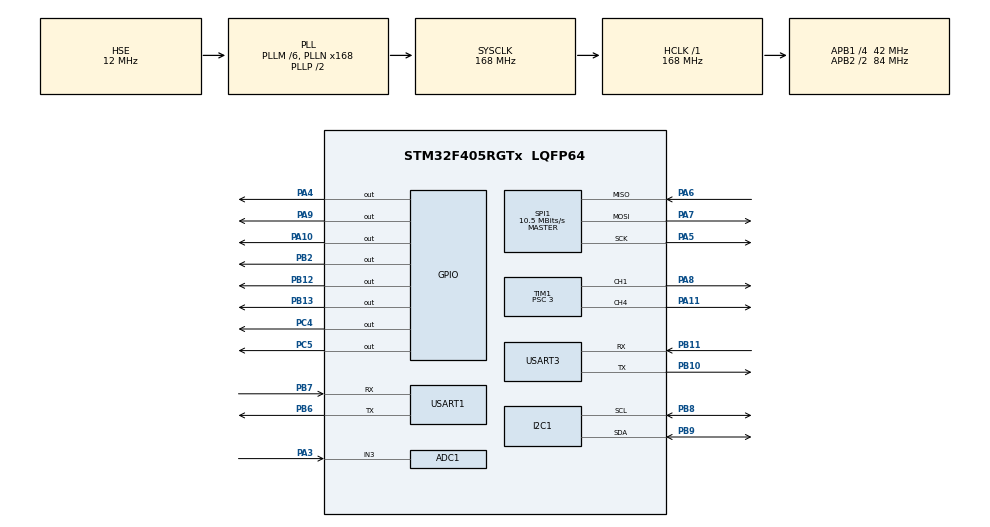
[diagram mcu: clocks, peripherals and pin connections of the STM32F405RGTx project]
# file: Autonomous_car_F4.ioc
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ADC1.Channel-3\#ChannelRegularConversion=ADC_CHANNEL_3
ADC1.NbrOfConversionFlag=1
ADC1.Rank-3\#ChannelRegularConversion=1
ADC1.SamplingTime-3\#ChannelRegularConversion=ADC_SAMPLETIME_3CYCLES
ADC1.master=1
Dma.Request0=USART3_TX
Dma.USART3_TX.0.Direction=DMA_MEMORY_TO_PERIPH
Dma.USART3_TX.0.FIFOMode=DMA_FIFOMODE_DISABLE
Dma.USART3_TX.0.Instance=DMA1_Stream3
Dma.USART3_TX.0.MemDataAlignment=DMA_MDATAALIGN_BYTE
Dma.USART3_TX.0.MemInc=DMA_MINC_ENABLE
Dma.USART3_TX.0.Mode=DMA_NORMAL
Dma.USART3_TX.0.PeriphDataAlignment=DMA_PDATAALIGN_BYTE
Dma.USART3_TX.0.PeriphInc=DMA_PINC_DISABLE
Dma.USART3_TX.0.Priority=DMA_PRIORITY_LOW
I2C1.I2C_Mode=I2C_Fast
Mcu.Family=STM32F4
Mcu.Name=STM32F405RGTx
Mcu.Package=LQFP64
NVIC.DMA1_Stream3_IRQn=true\:5\:0\:false\:false\:true\:false\:true
NVIC.PriorityGroup=NVIC_PRIORITYGROUP_4
NVIC.TIM2_IRQn=true\:1\:0\:true\:false\:true\:true\:true
NVIC.TIM8_TRG_COM_TIM14_IRQn=true\:0\:0\:false\:false\:true\:false\:true
NVIC.TimeBase=TIM8_TRG_COM_TIM14_IRQn
NVIC.TimeBaseIP=TIM14
NVIC.USART1_IRQn=true\:1\:0\:true\:false\:true\:true\:true
PA10.Signal=GPIO_Output
PA11.Signal=S_TIM1_CH4
PA13.Mode=Serial_Wire
PA13.Signal=SYS_JTMS-SWDIO
PA14.Mode=Serial_Wire
PA14.Signal=SYS_JTCK-SWCLK
PA3.Signal=ADCx_IN3
PA4.Signal=GPIO_Output
PA5.Mode=Full_Duplex_Master
PA5.Signal=SPI1_SCK
PA6.Mode=Full_Duplex_Master
PA6.Signal=SPI1_MISO
PA7.Mode=Full_Duplex_Master
PA7.Signal=SPI1_MOSI
PA8.Signal=S_TIM1_CH1
PA9.Signal=GPIO_Output
PB10.Mode=Asynchronous
PB10.Signal=USART3_TX
PB11.Mode=Asynchronous
PB11.Signal=USART3_RX
PB12.Signal=GPIO_Output
PB13.Signal=GPIO_Output
PB2.Signal=GPIO_Output
PB6.Mode=Asynchronous
PB6.Signal=USART1_TX
PB7.Mode=Asynchronous
PB7.Signal=USART1_RX
PB8.Mode=I2C
PB8.Signal=I2C1_SCL
PB9.Mode=I2C
PB9.Signal=I2C1_SDA
PC4.Signal=GPIO_Output
PC5.Signal=GPIO_Output
PH0-OSC_IN.Mode=HSE-External-Oscillator
PH0-OSC_IN.Signal=RCC_OSC_IN
PH1-OSC_OUT.Mode=HSE-External-Oscillator
PH1-OSC_OUT.Signal=RCC_OSC_OUT
ProjectManager.HeapSize=0x200
ProjectManager.StackSize=0x400
ProjectManager.TargetToolchain=STM32CubeIDE
RCC.48MHZClocksFreq_Value=84000000
RCC.AHBFreq_Value=168000000
RCC.APB1CLKDivider=RCC_HCLK_DIV4
RCC.APB1Freq_Value=42000000
RCC.APB1TimFreq_Value=84000000
RCC.APB2CLKDivider=RCC_HCLK_DIV2
RCC.APB2Freq_Value=84000000
RCC.APB2TimFreq_Value=168000000
RCC.CortexFreq_Value=168000000
RCC.HCLKFreq_Value=168000000
RCC.HSE_VALUE=12000000
RCC.HSI_VALUE=16000000
RCC.LSE_VALUE=32768
RCC.PLLM=6
RCC.PLLN=168
RCC.PLLSourceVirtual=RCC_PLLSOURCE_HSE
RCC.SYSCLKFreq_VALUE=168000000
RCC.SYSCLKSource=RCC_SYSCLKSOURCE_PLLCLK
RCC.VCOOutputFreq_Value=336000000
SH.ADCx_IN3.0=ADC1_IN3,IN3
SH.S_TIM1_CH1.0=TIM1_CH1,PWM Generation1 CH1
SH.S_TIM1_CH4.0=TIM1_CH4,PWM Generation4 CH4
SPI1.BaudRatePrescaler=SPI_BAUDRATEPRESCALER_8
SPI1.CalculateBaudRate=10.5 MBits/s
SPI1.Direction=SPI_DIRECTION_2LINES
SPI1.Mode=SPI_MODE_MASTER
SPI1.VirtualType=VM_MASTER
TIM1.Channel-PWM\ Generation1\ CH1=TIM_CHANNEL_1
TIM1.Channel-PWM\ Generation4\ CH4=TIM_CHANNEL_4
TIM1.Period=1000
TIM1.Prescaler=3
TIM2.Period=10000
TIM2.Prescaler=83
USART1.VirtualMode=VM_ASYNC
USART3.VirtualMode=VM_ASYNC
VP_CRC_VS_CRC.Mode=CRC_Activate
VP_SYS_VS_tim14.Mode=TIM14
VP_TIM1_VS_ClockSourceINT.Mode=Internal
VP_TIM2_VS_ClockSourceINT.Mode=Internal
board=custom

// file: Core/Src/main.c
/* USER CODE BEGIN Header */
/**
  ******************************************************************************
  * @file           : main.c
  * @brief          : Main program body
  ******************************************************************************
  * @attention
  *
  * <h2><center>&copy; Copyright (c) 2020 STMicroelectronics.
  * All rights reserved.</center></h2>
  *
  * This software component is licensed by ST under Ultimate Liberty license
  * SLA0044, the "License"; You may not use this file except in compliance with
  * the License. You may obtain a copy of the License at:
  *                             www.st.com/SLA0044
  *
  ******************************************************************************
  */
/* USER CODE END Header */
#include "main.h"

/* USER CODE BEGIN Includes */
#include "mpu9250.hpp"
#include "print_func.hpp"
#include "sbus.h"
#include "mpu_data_type.hpp"
#include "PID.h"
/* USER CODE END Includes */

ADC_HandleTypeDef hadc1;

CRC_HandleTypeDef hcrc;

I2C_HandleTypeDef hi2c1;

SPI_HandleTypeDef hspi1;

TIM_HandleTypeDef htim1;
TIM_HandleTypeDef htim2;

UART_HandleTypeDef huart1;
UART_HandleTypeDef huart3;
DMA_HandleTypeDef hdma_usart3_tx;

void SystemClock_Config(void);
static void MX_GPIO_Init(void);
static void MX_DMA_Init(void);
static void MX_USART3_UART_Init(void);
static void MX_I2C1_Init(void);
static void MX_TIM1_Init(void);
static void MX_USART1_UART_Init(void);
static void MX_CRC_Init(void);
static void MX_SPI1_Init(void);
static void MX_TIM2_Init(void);
static void MX_ADC1_Init(void);

/* USER CODE BEGIN 0 */

MAG_data mag_raw, mag_data;

uint8_t calib_mode = 0;

uint8_t Rx_data[2];
uint8_t Rx_buffer[24];
uint8_t sbus_buffer[7];

IMU_data imu_data;
PID_raw pid_temp;
PID_value pid_data;
ESC_value esc_value;

float yaw, yaw_com, yaw_offset, yaw_gyro = 0;
float set_point = 0;
int velocity = 0;

/* USER CODE END 0 */

int main(void)
{

  /* MCU Configuration--------------------------------------------------------*/

  /* Reset of all peripherals, Initializes the Flash interface and the Systick. */
  HAL_Init();

  /* Configure the system clock */
  SystemClock_Config();

  /* Initialize all configured peripherals */
  MX_GPIO_Init();
  MX_DMA_Init();
  MX_USART3_UART_Init();
  MX_I2C1_Init();
  MX_TIM1_Init();
  MX_USART1_UART_Init();
  MX_CRC_Init();
  MX_SPI1_Init();
  MX_TIM2_Init();
  MX_ADC1_Init();
  /* USER CODE BEGIN 2 */
  init_MPU();
  calibration_IMU();

  yaw_com = 0;
//  HAL_UART_Receive_IT(&huart1, (uint8_t *) Rx_data, 1);

  HAL_TIM_PWM_Start(&htim1, TIM_CHANNEL_1);
  HAL_TIM_PWM_Start(&htim1, TIM_CHANNEL_4);
  HAL_TIM_Base_Start_IT(&htim2);

  /* USER CODE END 2 */

  /* Infinite loop */
  while (1)
  {

    /* USER CODE BEGIN 3 */
//	  for(int i = -500; i<0;i++){
//	    Motor1(i);
//		Motor2(i);
//		HAL_Delay(10);
//	  }
//	  for(int i = 0; i> -500;i--){
//	    Motor1(i);
//		Motor2(i);
//		HAL_Delay(10);
//	  }
//	      mag_raw.Mag_x = set_point;
	      mag_raw.Mag_z = yaw_gyro;
//	  	  mag_raw.Mag_z = imu_data.Gyro_z;
	  	  print_magnet(mag_raw);
	  	  HAL_Delay(100);
  }
  /* USER CODE END 3 */
}

void SystemClock_Config(void)
{
  RCC_OscInitTypeDef RCC_OscInitStruct = {0};
  RCC_ClkInitTypeDef RCC_ClkInitStruct = {0};

  /** Configure the main internal regulator output voltage
  */
  __HAL_RCC_PWR_CLK_ENABLE();
  __HAL_PWR_VOLTAGESCALING_CONFIG(PWR_REGULATOR_VOLTAGE_SCALE1);
  /** Initializes the RCC Oscillators according to the specified parameters
  * in the RCC_OscInitTypeDef structure.
  */
  RCC_OscInitStruct.OscillatorType = RCC_OSCILLATORTYPE_HSE;
  RCC_OscInitStruct.HSEState = RCC_HSE_ON;
  RCC_OscInitStruct.PLL.PLLState = RCC_PLL_ON;
  RCC_OscInitStruct.PLL.PLLSource = RCC_PLLSOURCE_HSE;
  RCC_OscInitStruct.PLL.PLLM = 6;
  RCC_OscInitStruct.PLL.PLLN = 168;
  RCC_OscInitStruct.PLL.PLLP = RCC_PLLP_DIV2;
  RCC_OscInitStruct.PLL.PLLQ = 4;
  if (HAL_RCC_OscConfig(&RCC_OscInitStruct) != HAL_OK)
  {
    Error_Handler();
  }
  /** Initializes the CPU, AHB and APB buses clocks
  */
  RCC_ClkInitStruct.ClockType = RCC_CLOCKTYPE_HCLK|RCC_CLOCKTYPE_SYSCLK
                              |RCC_CLOCKTYPE_PCLK1|RCC_CLOCKTYPE_PCLK2;
  RCC_ClkInitStruct.SYSCLKSource = RCC_SYSCLKSOURCE_PLLCLK;
  RCC_ClkInitStruct.AHBCLKDivider = RCC_SYSCLK_DIV1;
  RCC_ClkInitStruct.APB1CLKDivider = RCC_HCLK_DIV4;
  RCC_ClkInitStruct.APB2CLKDivider = RCC_HCLK_DIV2;

  if (HAL_RCC_ClockConfig(&RCC_ClkInitStruct, FLASH_LATENCY_5) != HAL_OK)
  {
    Error_Handler();
  }
}

static void MX_ADC1_Init(void)
{

  ADC_ChannelConfTypeDef sConfig = {0};

  /** Configure the global features of the ADC (Clock, Resolution, Data Alignment and number of conversion)
  */
  hadc1.Instance = ADC1;
  hadc1.Init.ClockPrescaler = ADC_CLOCK_SYNC_PCLK_DIV4;
  hadc1.Init.Resolution = ADC_RESOLUTION_12B;
  hadc1.Init.ScanConvMode = DISABLE;
  hadc1.Init.ContinuousConvMode = DISABLE;
  hadc1.Init.DiscontinuousConvMode = DISABLE;
  hadc1.Init.ExternalTrigConvEdge = ADC_EXTERNALTRIGCONVEDGE_NONE;
  hadc1.Init.ExternalTrigConv = ADC_SOFTWARE_START;
  hadc1.Init.DataAlign = ADC_DATAALIGN_RIGHT;
  hadc1.Init.NbrOfConversion = 1;
  hadc1.Init.DMAContinuousRequests = DISABLE;
  hadc1.Init.EOCSelection = ADC_EOC_SINGLE_CONV;
  if (HAL_ADC_Init(&hadc1) != HAL_OK)
  {
    Error_Handler();
  }
  /** Configure for the selected ADC regular channel its corresponding rank in the sequencer and its sample time.
  */
  sConfig.Channel = ADC_CHANNEL_3;
  sConfig.Rank = 1;
  sConfig.SamplingTime = ADC_SAMPLETIME_3CYCLES;
  if (HAL_ADC_ConfigChannel(&hadc1, &sConfig) != HAL_OK)
  {
    Error_Handler();
  }

}

static void MX_CRC_Init(void)
{

  hcrc.Instance = CRC;
  if (HAL_CRC_Init(&hcrc) != HAL_OK)
  {
    Error_Handler();
  }

}

static void MX_I2C1_Init(void)
{

  hi2c1.Instance = I2C1;
  hi2c1.Init.ClockSpeed = 400000;
  hi2c1.Init.DutyCycle = I2C_DUTYCYCLE_2;
  hi2c1.Init.OwnAddress1 = 0;
  hi2c1.Init.AddressingMode = I2C_ADDRESSINGMODE_7BIT;
  hi2c1.Init.DualAddressMode = I2C_DUALADDRESS_DISABLE;
  hi2c1.Init.OwnAddress2 = 0;
  hi2c1.Init.GeneralCallMode = I2C_GENERALCALL_DISABLE;
  hi2c1.Init.NoStretchMode = I2C_NOSTRETCH_DISABLE;
  if (HAL_I2C_Init(&hi2c1) != HAL_OK)
  {
    Error_Handler();
  }

}

static void MX_SPI1_Init(void)
{

  /* SPI1 parameter configuration*/
  hspi1.Instance = SPI1;
  hspi1.Init.Mode = SPI_MODE_MASTER;
  hspi1.Init.Direction = SPI_DIRECTION_2LINES;
  hspi1.Init.DataSize = SPI_DATASIZE_8BIT;
  hspi1.Init.CLKPolarity = SPI_POLARITY_LOW;
  hspi1.Init.CLKPhase = SPI_PHASE_1EDGE;
  hspi1.Init.NSS = SPI_NSS_SOFT;
  hspi1.Init.BaudRatePrescaler = SPI_BAUDRATEPRESCALER_8;
  hspi1.Init.FirstBit = SPI_FIRSTBIT_MSB;
  hspi1.Init.TIMode = SPI_TIMODE_DISABLE;
  hspi1.Init.CRCCalculation = SPI_CRCCALCULATION_DISABLE;
  hspi1.Init.CRCPolynomial = 10;
  if (HAL_SPI_Init(&hspi1) != HAL_OK)
  {
    Error_Handler();
  }

}

static void MX_TIM1_Init(void)
{

  TIM_ClockConfigTypeDef sClockSourceConfig = {0};
  TIM_MasterConfigTypeDef sMasterConfig = {0};
  TIM_OC_InitTypeDef sConfigOC = {0};
  TIM_BreakDeadTimeConfigTypeDef sBreakDeadTimeConfig = {0};

  htim1.Instance = TIM1;
  htim1.Init.Prescaler = 3;
  htim1.Init.CounterMode = TIM_COUNTERMODE_UP;
  htim1.Init.Period = 1000;
  htim1.Init.ClockDivision = TIM_CLOCKDIVISION_DIV1;
  htim1.Init.RepetitionCounter = 0;
  htim1.Init.AutoReloadPreload = TIM_AUTORELOAD_PRELOAD_DISABLE;
  if (HAL_TIM_Base_Init(&htim1) != HAL_OK)
  {
    Error_Handler();
  }
  sClockSourceConfig.ClockSource = TIM_CLOCKSOURCE_INTERNAL;
  if (HAL_TIM_ConfigClockSource(&htim1, &sClockSourceConfig) != HAL_OK)
  {
    Error_Handler();
  }
  if (HAL_TIM_PWM_Init(&htim1) != HAL_OK)
  {
    Error_Handler();
  }
  sMasterConfig.MasterOutputTrigger = TIM_TRGO_RESET;
  sMasterConfig.MasterSlaveMode = TIM_MASTERSLAVEMODE_DISABLE;
  if (HAL_TIMEx_MasterConfigSynchronization(&htim1, &sMasterConfig) != HAL_OK)
  {
    Error_Handler();
  }
  sConfigOC.OCMode = TIM_OCMODE_PWM1;
  sConfigOC.Pulse = 0;
  sConfigOC.OCPolarity = TIM_OCPOLARITY_HIGH;
  sConfigOC.OCNPolarity = TIM_OCNPOLARITY_HIGH;
  sConfigOC.OCFastMode = TIM_OCFAST_DISABLE;
  sConfigOC.OCIdleState = TIM_OCIDLESTATE_RESET;
  sConfigOC.OCNIdleState = TIM_OCNIDLESTATE_RESET;
  if (HAL_TIM_PWM_ConfigChannel(&htim1, &sConfigOC, TIM_CHANNEL_1) != HAL_OK)
  {
    Error_Handler();
  }
  if (HAL_TIM_PWM_ConfigChannel(&htim1, &sConfigOC, TIM_CHANNEL_4) != HAL_OK)
  {
    Error_Handler();
  }
  sBreakDeadTimeConfig.OffStateRunMode = TIM_OSSR_DISABLE;
  sBreakDeadTimeConfig.OffStateIDLEMode = TIM_OSSI_DISABLE;
  sBreakDeadTimeConfig.LockLevel = TIM_LOCKLEVEL_OFF;
  sBreakDeadTimeConfig.DeadTime = 0;
  sBreakDeadTimeConfig.BreakState = TIM_BREAK_DISABLE;
  sBreakDeadTimeConfig.BreakPolarity = TIM_BREAKPOLARITY_HIGH;
  sBreakDeadTimeConfig.AutomaticOutput = TIM_AUTOMATICOUTPUT_DISABLE;
  if (HAL_TIMEx_ConfigBreakDeadTime(&htim1, &sBreakDeadTimeConfig) != HAL_OK)
  {
    Error_Handler();
  }
  HAL_TIM_MspPostInit(&htim1);

}

static void MX_TIM2_Init(void)
{

  TIM_ClockConfigTypeDef sClockSourceConfig = {0};
  TIM_MasterConfigTypeDef sMasterConfig = {0};

  htim2.Instance = TIM2;
  htim2.Init.Prescaler = 83;
  htim2.Init.CounterMode = TIM_COUNTERMODE_UP;
  htim2.Init.Period = 10000;
  htim2.Init.ClockDivision = TIM_CLOCKDIVISION_DIV1;
  htim2.Init.AutoReloadPreload = TIM_AUTORELOAD_PRELOAD_DISABLE;
  if (HAL_TIM_Base_Init(&htim2) != HAL_OK)
  {
    Error_Handler();
  }
  sClockSourceConfig.ClockSource = TIM_CLOCKSOURCE_INTERNAL;
  if (HAL_TIM_ConfigClockSource(&htim2, &sClockSourceConfig) != HAL_OK)
  {
    Error_Handler();
  }
  sMasterConfig.MasterOutputTrigger = TIM_TRGO_RESET;
  sMasterConfig.MasterSlaveMode = TIM_MASTERSLAVEMODE_DISABLE;
  if (HAL_TIMEx_MasterConfigSynchronization(&htim2, &sMasterConfig) != HAL_OK)
  {
    Error_Handler();
  }

}

static void MX_USART1_UART_Init(void)
{

  huart1.Instance = USART1;
  huart1.Init.BaudRate = 115200;
  huart1.Init.WordLength = UART_WORDLENGTH_8B;
  huart1.Init.StopBits = UART_STOPBITS_1;
  huart1.Init.Parity = UART_PARITY_NONE;
  huart1.Init.Mode = UART_MODE_TX_RX;
  huart1.Init.HwFlowCtl = UART_HWCONTROL_NONE;
  huart1.Init.OverSampling = UART_OVERSAMPLING_16;
  if (HAL_UART_Init(&huart1) != HAL_OK)
  {
    Error_Handler();
  }

}

static void MX_USART3_UART_Init(void)
{

  huart3.Instance = USART3;
  huart3.Init.BaudRate = 115200;
  huart3.Init.WordLength = UART_WORDLENGTH_8B;
  huart3.Init.StopBits = UART_STOPBITS_1;
  huart3.Init.Parity = UART_PARITY_NONE;
  huart3.Init.Mode = UART_MODE_TX_RX;
  huart3.Init.HwFlowCtl = UART_HWCONTROL_NONE;
  huart3.Init.OverSampling = UART_OVERSAMPLING_16;
  if (HAL_UART_Init(&huart3) != HAL_OK)
  {
    Error_Handler();
  }

}

static void MX_DMA_Init(void)
{

  /* DMA controller clock enable */
  __HAL_RCC_DMA1_CLK_ENABLE();

  /* DMA interrupt init */
  /* DMA1_Stream3_IRQn interrupt configuration */
  HAL_NVIC_SetPriority(DMA1_Stream3_IRQn, 5, 0);
  HAL_NVIC_EnableIRQ(DMA1_Stream3_IRQn);

}

static void MX_GPIO_Init(void)
{
  GPIO_InitTypeDef GPIO_InitStruct = {0};

  /* GPIO Ports Clock Enable */
  __HAL_RCC_GPIOH_CLK_ENABLE();
  __HAL_RCC_GPIOA_CLK_ENABLE();
  __HAL_RCC_GPIOC_CLK_ENABLE();
  __HAL_RCC_GPIOB_CLK_ENABLE();

  /*Configure GPIO pin Output Level */
  HAL_GPIO_WritePin(GPIOA, GPIO_PIN_4|GPIO_PIN_9|GPIO_PIN_10, GPIO_PIN_RESET);

  /*Configure GPIO pin Output Level */
  HAL_GPIO_WritePin(GPIOC, GPIO_PIN_4|GPIO_PIN_5, GPIO_PIN_RESET);

  /*Configure GPIO pin Output Level */
  HAL_GPIO_WritePin(GPIOB, GPIO_PIN_2|GPIO_PIN_12|GPIO_PIN_13, GPIO_PIN_RESET);

  /*Configure GPIO pins : PA4 PA9 PA10 */
  GPIO_InitStruct.Pin = GPIO_PIN_4|GPIO_PIN_9|GPIO_PIN_10;
  GPIO_InitStruct.Mode = GPIO_MODE_OUTPUT_PP;
  GPIO_InitStruct.Pull = GPIO_NOPULL;
  GPIO_InitStruct.Speed = GPIO_SPEED_FREQ_LOW;
  HAL_GPIO_Init(GPIOA, &GPIO_InitStruct);

  /*Configure GPIO pins : PC4 PC5 */
  GPIO_InitStruct.Pin = GPIO_PIN_4|GPIO_PIN_5;
  GPIO_InitStruct.Mode = GPIO_MODE_OUTPUT_PP;
  GPIO_InitStruct.Pull = GPIO_NOPULL;
  GPIO_InitStruct.Speed = GPIO_SPEED_FREQ_LOW;
  HAL_GPIO_Init(GPIOC, &GPIO_InitStruct);

  /*Configure GPIO pins : PB2 PB12 PB13 */
  GPIO_InitStruct.Pin = GPIO_PIN_2|GPIO_PIN_12|GPIO_PIN_13;
  GPIO_InitStruct.Mode = GPIO_MODE_OUTPUT_PP;
  GPIO_InitStruct.Pull = GPIO_NOPULL;
  GPIO_InitStruct.Speed = GPIO_SPEED_FREQ_LOW;
  HAL_GPIO_Init(GPIOB, &GPIO_InitStruct);

}

/* USER CODE BEGIN 4 */
//int j = 0;
//void HAL_UART_RxCpltCallback(UART_HandleTypeDef *huart)
//{
//	HAL_GPIO_TogglePin(GPIOB, GPIO_PIN_2);
//
//	if (huart->Instance == USART1)  //current UART
//	{
//
//
//		if((Rx_data[0] == 'w')){
//			velocity = 300;
//		}
//		if((Rx_data[0] == 'a')){
//			set_point--;
//		}
//		if((Rx_data[0] == 'd')){
//			set_point++;
//		}
//		if((Rx_data[0] == 'x')){
//			velocity = 0;
//		}
//
////		char trans_b[4];
//		if(Rx_data[0] == 's'){
//			j = 0;
////			BOARD_MODE = FLY_MODE;
//
//             for(int count = 0; count< 24; count++)
//            	 Rx_buffer[count] = 0x00;
//		}
//		else{
//			if((Rx_data[0] != 'e')){
//			 Rx_buffer[j] = Rx_data[0];
//			 j++;
////			 HAL_UART_Receive_IT(&huart3, (uint8_t *) Rx_data, 1);
//
//			}
//			else{
//
//					for(uint8_t k = 0; k<8; k++){
//                        sbus_buffer[k] = Rx_buffer[k];
//					}
//				    esc_value = sbus_decode(sbus_buffer);
//					if(check_CRC(esc_value)){
//						set_point = esc_value.esc_value1 - 180;
//						velocity = esc_value.esc_value2 - 500;
//					}
//				    j = 0;
//
//
//                Rx_data[0] = 0;
//
////				HAL_UART_Receive_IT(&huart3, (uint8_t *) Rx_data, 1);
//			}
//		}
//
//	}
//
//	 HAL_UART_Receive_IT(&huart1, (uint8_t *) Rx_data, 1);
//
//}

/* USER CODE END 4 */

void HAL_TIM_PeriodElapsedCallback(TIM_HandleTypeDef *htim)
{
  if (htim->Instance == TIM14) {
    HAL_IncTick();
  }
  /* USER CODE BEGIN Callback 1 */
    if (htim->Instance == TIM2) {
    		if(!calib_mode){
    		   imu_data = process_MPU(0,0);
    	//       mag_raw = process_magnet();
    	//       yaw = 180 * atan2(-mag_raw.Mag_x,mag_raw.Mag_y)/3.14159;
    	//       yaw_com = 0.98*(yaw_com + 0.01*imu_data.Gyro_z) + (0.02)*(yaw);
    	       yaw_gyro += 0.01*imu_data.Gyro_z;
    		}
    		else{
    			mag_raw = magnet_get_raw();
    		}
    	    PID(set_point, yaw_gyro, velocity);
      }
  /* USER CODE END Callback 1 */
}

void Error_Handler(void)
{
}

/************************ (C) COPYRIGHT STMicroelectronics *****END OF FILE****/
